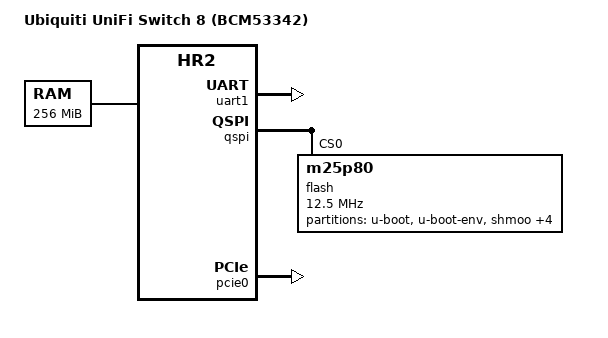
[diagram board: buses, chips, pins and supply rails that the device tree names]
/*
 * DTS for Unifi Switch 8 port
 *
 * Copyright (C) 2017 Florian Fainelli <f.fainelli@gmail.com>
 *
 * Licensed under the GNU/GPL. See COPYING for details.
 */

/dts-v1/;

#include "bcm-hr2.dtsi"

/ {
	compatible = "ubnt,unifi-switch8", "brcm,bcm53342", "brcm,hr2";
	model = "Ubiquiti UniFi Switch 8 (BCM53342)";

	/* Hurricane 2 designs use the second UART */
	chosen {
		bootargs = "console=ttyS1,115200 earlyprintk";
	};

	memory@0 {
		device_type = "memory";
		reg = <0x00000000 0x08000000>,
		      <0x68000000 0x08000000>;
	};
};

&uart1 {
	status = "okay";
};

&qspi {
	status = "okay";

	flash: flash@0 {
		compatible = "m25p80";
		reg = <0>;
		#address-cells = <1>;
		#size-cells = <1>;
		spi-max-frequency = <12500000>;
		spi-cpol;
		spi-cpha;

		partition@0 {
			label = "u-boot";
			reg = <0x0 0xc0000>;
		};

		partition@c0000 {
			label = "u-boot-env";
			reg = <0xc0000 0x10000>;
		};

		partition@d0000 {
			label = "shmoo";
			reg = <0xd0000 0x10000>;
		};

		partition@e0000 {
			label = "kernel0";
			reg = <0xe0000 0xf00000>;
		};

		partition@fe0000 {
			label = "kernel1";
			reg = <0xfe0000 0xf10000>;
		};

		partition@1ef0000 {
			label = "cfg";
			reg = <0x1ef0000 0x100000>;
		};

		partition@1ff0000 {
			label = "EEPROM";
			reg = <0x1ff0000 0x10000>;
		};
	};
};

&pcie0 {
	/* Attaches to the internal switch */
	status = "okay";
};
